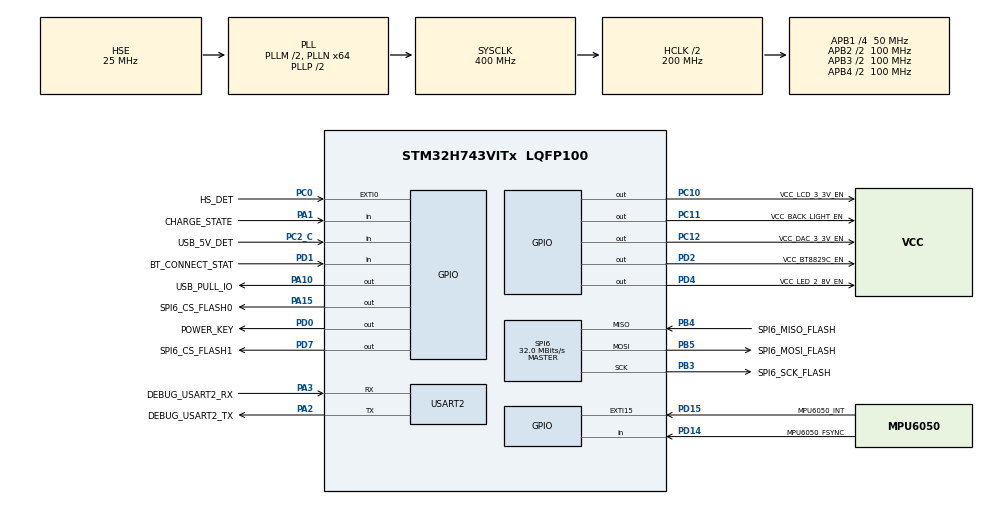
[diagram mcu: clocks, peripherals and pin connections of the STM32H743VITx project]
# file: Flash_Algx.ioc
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Bdma.Request0=SPI6_RX
Bdma.Request1=SPI6_TX
Bdma.RequestsNb=2
Bdma.SPI6_RX.0.Direction=DMA_PERIPH_TO_MEMORY
Bdma.SPI6_RX.0.EventEnable=DISABLE
Bdma.SPI6_RX.0.Instance=BDMA_Channel2
Bdma.SPI6_RX.0.MemDataAlignment=DMA_MDATAALIGN_BYTE
Bdma.SPI6_RX.0.MemInc=DMA_MINC_ENABLE
Bdma.SPI6_RX.0.Mode=DMA_NORMAL
Bdma.SPI6_RX.0.PeriphDataAlignment=DMA_PDATAALIGN_BYTE
Bdma.SPI6_RX.0.PeriphInc=DMA_PINC_DISABLE
Bdma.SPI6_RX.0.Polarity=HAL_DMAMUX_REQ_GEN_RISING
Bdma.SPI6_RX.0.Priority=DMA_PRIORITY_LOW
Bdma.SPI6_RX.0.RequestNumber=1
Bdma.SPI6_RX.0.SignalID=NONE
Bdma.SPI6_RX.0.SyncEnable=DISABLE
Bdma.SPI6_RX.0.SyncPolarity=HAL_DMAMUX_SYNC_NO_EVENT
Bdma.SPI6_RX.0.SyncRequestNumber=1
Bdma.SPI6_RX.0.SyncSignalID=NONE
Bdma.SPI6_TX.1.Direction=DMA_MEMORY_TO_PERIPH
Bdma.SPI6_TX.1.EventEnable=DISABLE
Bdma.SPI6_TX.1.Instance=BDMA_Channel3
Bdma.SPI6_TX.1.MemDataAlignment=DMA_MDATAALIGN_BYTE
Bdma.SPI6_TX.1.MemInc=DMA_MINC_ENABLE
Bdma.SPI6_TX.1.Mode=DMA_NORMAL
Bdma.SPI6_TX.1.PeriphDataAlignment=DMA_PDATAALIGN_BYTE
Bdma.SPI6_TX.1.PeriphInc=DMA_PINC_DISABLE
Bdma.SPI6_TX.1.Polarity=HAL_DMAMUX_REQ_GEN_RISING
Bdma.SPI6_TX.1.Priority=DMA_PRIORITY_LOW
Bdma.SPI6_TX.1.RequestNumber=1
Bdma.SPI6_TX.1.SignalID=NONE
Bdma.SPI6_TX.1.SyncEnable=DISABLE
Bdma.SPI6_TX.1.SyncPolarity=HAL_DMAMUX_SYNC_NO_EVENT
Bdma.SPI6_TX.1.SyncRequestNumber=1
Bdma.SPI6_TX.1.SyncSignalID=NONE
CORTEX_M7.AccessPermission-Cortex_Memory_Protection_Unit_Region0_Settings=MPU_REGION_FULL_ACCESS
CORTEX_M7.AccessPermission-Cortex_Memory_Protection_Unit_Region1_Settings=MPU_REGION_FULL_ACCESS
CORTEX_M7.AccessPermission-Cortex_Memory_Protection_Unit_Region2_Settings=MPU_REGION_FULL_ACCESS
CORTEX_M7.AccessPermission-Cortex_Memory_Protection_Unit_Region3_Settings=MPU_REGION_FULL_ACCESS
CORTEX_M7.BaseAddress-Cortex_Memory_Protection_Unit_Region0_Settings=0x24000000
CORTEX_M7.BaseAddress-Cortex_Memory_Protection_Unit_Region1_Settings=0x38000000
CORTEX_M7.BaseAddress-Cortex_Memory_Protection_Unit_Region2_Settings=0x30000000
CORTEX_M7.BaseAddress-Cortex_Memory_Protection_Unit_Region3_Settings=0x30020000
CORTEX_M7.CPU_DCache=Enabled
CORTEX_M7.CPU_ICache=Enabled
CORTEX_M7.Enable-Cortex_Memory_Protection_Unit_Region0_Settings=MPU_REGION_ENABLE
CORTEX_M7.Enable-Cortex_Memory_Protection_Unit_Region1_Settings=MPU_REGION_ENABLE
CORTEX_M7.Enable-Cortex_Memory_Protection_Unit_Region2_Settings=MPU_REGION_ENABLE
CORTEX_M7.Enable-Cortex_Memory_Protection_Unit_Region3_Settings=MPU_REGION_ENABLE
CORTEX_M7.IsBufferable-Cortex_Memory_Protection_Unit_Region0_Settings=MPU_ACCESS_BUFFERABLE
CORTEX_M7.IsCacheable-Cortex_Memory_Protection_Unit_Region0_Settings=MPU_ACCESS_CACHEABLE
CORTEX_M7.IsCacheable-Cortex_Memory_Protection_Unit_Region1_Settings=MPU_ACCESS_CACHEABLE
CORTEX_M7.IsCacheable-Cortex_Memory_Protection_Unit_Region2_Settings=MPU_ACCESS_CACHEABLE
CORTEX_M7.IsCacheable-Cortex_Memory_Protection_Unit_Region3_Settings=MPU_ACCESS_CACHEABLE
CORTEX_M7.IsShareable-Cortex_Memory_Protection_Unit_Region1_Settings=MPU_ACCESS_SHAREABLE
CORTEX_M7.IsShareable-Cortex_Memory_Protection_Unit_Region2_Settings=MPU_ACCESS_SHAREABLE
CORTEX_M7.IsShareable-Cortex_Memory_Protection_Unit_Region3_Settings=MPU_ACCESS_SHAREABLE
CORTEX_M7.MPU_Control=MPU_PRIVILEGED_DEFAULT
CORTEX_M7.Size-Cortex_Memory_Protection_Unit_Region0_Settings=MPU_REGION_SIZE_512KB
CORTEX_M7.Size-Cortex_Memory_Protection_Unit_Region1_Settings=MPU_REGION_SIZE_64KB
CORTEX_M7.Size-Cortex_Memory_Protection_Unit_Region2_Settings=MPU_REGION_SIZE_128KB
CORTEX_M7.Size-Cortex_Memory_Protection_Unit_Region3_Settings=MPU_REGION_SIZE_128KB
CORTEX_M7.TypeExtField-Cortex_Memory_Protection_Unit_Region0_Settings=MPU_TEX_LEVEL1
CORTEX_M7.TypeExtField-Cortex_Memory_Protection_Unit_Region1_Settings=MPU_TEX_LEVEL1
CORTEX_M7.TypeExtField-Cortex_Memory_Protection_Unit_Region2_Settings=MPU_TEX_LEVEL1
CORTEX_M7.TypeExtField-Cortex_Memory_Protection_Unit_Region3_Settings=MPU_TEX_LEVEL1
Dma.Request0=USART2_RX
Dma.Request1=USART2_TX
Dma.USART2_RX.0.Direction=DMA_PERIPH_TO_MEMORY
Dma.USART2_RX.0.EventEnable=DISABLE
Dma.USART2_RX.0.FIFOMode=DMA_FIFOMODE_DISABLE
Dma.USART2_RX.0.Instance=DMA1_Stream3
Dma.USART2_RX.0.MemDataAlignment=DMA_MDATAALIGN_BYTE
Dma.USART2_RX.0.MemInc=DMA_MINC_ENABLE
Dma.USART2_RX.0.Mode=DMA_NORMAL
Dma.USART2_RX.0.PeriphDataAlignment=DMA_PDATAALIGN_BYTE
Dma.USART2_RX.0.PeriphInc=DMA_PINC_DISABLE
Dma.USART2_RX.0.Polarity=HAL_DMAMUX_REQ_GEN_RISING
Dma.USART2_RX.0.Priority=DMA_PRIORITY_LOW
Dma.USART2_RX.0.RequestNumber=1
Dma.USART2_RX.0.SignalID=NONE
Dma.USART2_RX.0.SyncEnable=DISABLE
Dma.USART2_RX.0.SyncPolarity=HAL_DMAMUX_SYNC_NO_EVENT
Dma.USART2_RX.0.SyncRequestNumber=1
Dma.USART2_RX.0.SyncSignalID=NONE
Dma.USART2_TX.1.Direction=DMA_MEMORY_TO_PERIPH
Dma.USART2_TX.1.EventEnable=DISABLE
Dma.USART2_TX.1.FIFOMode=DMA_FIFOMODE_DISABLE
Dma.USART2_TX.1.Instance=DMA1_Stream4
Dma.USART2_TX.1.MemDataAlignment=DMA_MDATAALIGN_BYTE
Dma.USART2_TX.1.MemInc=DMA_MINC_ENABLE
Dma.USART2_TX.1.Mode=DMA_NORMAL
Dma.USART2_TX.1.PeriphDataAlignment=DMA_PDATAALIGN_BYTE
Dma.USART2_TX.1.PeriphInc=DMA_PINC_DISABLE
Dma.USART2_TX.1.Polarity=HAL_DMAMUX_REQ_GEN_RISING
Dma.USART2_TX.1.Priority=DMA_PRIORITY_LOW
Dma.USART2_TX.1.RequestNumber=1
Dma.USART2_TX.1.SignalID=NONE
Dma.USART2_TX.1.SyncEnable=DISABLE
Dma.USART2_TX.1.SyncPolarity=HAL_DMAMUX_SYNC_NO_EVENT
Dma.USART2_TX.1.SyncRequestNumber=1
Dma.USART2_TX.1.SyncSignalID=NONE
Mcu.Family=STM32H7
Mcu.Name=STM32H743VITx
Mcu.Package=LQFP100
NVIC.BDMA_Channel2_IRQn=true\:0\:0\:false\:false\:true\:false\:true\:true
NVIC.BDMA_Channel3_IRQn=true\:0\:0\:false\:false\:true\:false\:true\:true
NVIC.DMA1_Stream3_IRQn=true\:0\:0\:false\:false\:true\:false\:true\:true
NVIC.DMA1_Stream4_IRQn=true\:0\:0\:false\:false\:true\:false\:true\:true
NVIC.EXTI0_IRQn=true\:0\:0\:false\:false\:true\:true\:true\:true
NVIC.PVD_AVD_IRQn=true\:0\:0\:false\:false\:true\:true\:true\:true
NVIC.PriorityGroup=NVIC_PRIORITYGROUP_4
NVIC.SPI6_IRQn=true\:0\:0\:false\:false\:true\:false\:true\:true
NVIC.USART2_IRQn=true\:0\:0\:false\:false\:true\:true\:true\:true
PA1.GPIO_Label=CHARGE_STATE
PA1.Signal=GPIO_Input
PA10.GPIO_Label=USB_PULL_IO
PA10.GPIO_PuPd=GPIO_NOPULL
PA10.PinState=GPIO_PIN_SET
PA10.Signal=GPIO_Output
PA13\ (JTMS/SWDIO).Mode=Serial_Wire
PA13\ (JTMS/SWDIO).Signal=DEBUG_JTMS-SWDIO
PA14\ (JTCK/SWCLK).Mode=Serial_Wire
PA14\ (JTCK/SWCLK).Signal=DEBUG_JTCK-SWCLK
PA15\ (JTDI).GPIO_Label=SPI6_CS_FLASH0
PA15\ (JTDI).GPIO_Speed=GPIO_SPEED_FREQ_MEDIUM
PA15\ (JTDI).PinState=GPIO_PIN_SET
PA15\ (JTDI).Signal=GPIO_Output
PA2.GPIO_Label=DEBUG_USART2_TX
PA2.Mode=Asynchronous
PA2.Signal=USART2_TX
PA3.GPIO_Label=DEBUG_USART2_RX
PA3.Mode=Asynchronous
PA3.Signal=USART2_RX
PB3\ (JTDO/TRACESWO).GPIO_Label=SPI6_SCK_FLASH
PB3\ (JTDO/TRACESWO).Mode=Full_Duplex_Master
PB3\ (JTDO/TRACESWO).Signal=SPI6_SCK
PB4\ (NJTRST).GPIO_Label=SPI6_MISO_FLASH
PB4\ (NJTRST).Mode=Full_Duplex_Master
PB4\ (NJTRST).Signal=SPI6_MISO
PB5.GPIO_Label=SPI6_MOSI_FLASH
PB5.Mode=Full_Duplex_Master
PB5.Signal=SPI6_MOSI
PC0.GPIO_Label=HS_DET
PC0.GPIO_ModeDefaultEXTI=GPIO_MODE_IT_FALLING
PC0.GPIO_PuPd=GPIO_PULLUP
PC0.Signal=GPXTI0
PC10.GPIO_Label=VCC_LCD_3_3V_EN
PC10.PinState=GPIO_PIN_SET
PC10.Signal=GPIO_Output
PC11.GPIO_Label=VCC_BACK_LIGHT_EN
PC11.PinState=GPIO_PIN_SET
PC11.Signal=GPIO_Output
PC12.GPIO_Label=VCC_DAC_3_3V_EN
PC12.PinState=GPIO_PIN_SET
PC12.Signal=GPIO_Output
PC14-OSC32_IN\ (OSC32_IN).Mode=LSE-External-Oscillator
PC14-OSC32_IN\ (OSC32_IN).Signal=RCC_OSC32_IN
PC15-OSC32_OUT\ (OSC32_OUT).Mode=LSE-External-Oscillator
PC15-OSC32_OUT\ (OSC32_OUT).Signal=RCC_OSC32_OUT
PC2_C.GPIO_Label=USB_5V_DET
PC2_C.Signal=GPIO_Input
PD0.GPIO_Label=POWER_KEY
PD0.Signal=GPIO_Output
PD1.GPIO_Label=BT_CONNECT_STAT
PD1.Signal=GPIO_Input
PD14.GPIO_Label=MPU6050_FSYNC
PD14.Signal=GPIO_Input
PD15.GPIO_Label=MPU6050_INT
PD15.GPIO_ModeDefaultEXTI=GPIO_MODE_IT_FALLING
PD15.GPIO_PuPd=GPIO_PULLUP
PD15.Signal=GPXTI15
PD2.GPIO_Label=VCC_BT8829C_EN
PD2.GPIO_ModeDefaultOutputPP=GPIO_MODE_OUTPUT_OD
PD2.GPIO_PuPd=GPIO_NOPULL
PD2.PinState=GPIO_PIN_SET
PD2.Signal=GPIO_Output
PD4.GPIO_Label=VCC_LED_2_8V_EN
PD4.PinState=GPIO_PIN_SET
PD4.Signal=GPIO_Output
PD7.GPIO_Label=SPI6_CS_FLASH1
PD7.GPIO_Speed=GPIO_SPEED_FREQ_MEDIUM
PD7.PinState=GPIO_PIN_SET
PD7.Signal=GPIO_Output
PH0-OSC_IN\ (PH0).Mode=HSE-External-Oscillator
PH0-OSC_IN\ (PH0).Signal=RCC_OSC_IN
PH1-OSC_OUT\ (PH1).Mode=HSE-External-Oscillator
PH1-OSC_OUT\ (PH1).Signal=RCC_OSC_OUT
ProjectManager.HeapSize=0xC000
ProjectManager.StackSize=0xA000
ProjectManager.TargetToolchain=MDK-ARM V5.32
RCC.ADCFreq_Value=2048000
RCC.APB1Freq_Value=50000000
RCC.APB2Freq_Value=100000000
RCC.APB3Freq_Value=100000000
RCC.APB4Freq_Value=100000000
RCC.CortexFreq_Value=400000000
RCC.D1PPRE=RCC_APB3_DIV2
RCC.D2PPRE1=RCC_APB1_DIV4
RCC.D2PPRE2=RCC_APB2_DIV2
RCC.D3PPRE=RCC_APB4_DIV2
RCC.DIVM1=2
RCC.DIVM2=25
RCC.DIVM3=25
RCC.DIVN1=64
RCC.DIVN2=256
RCC.DIVN3=246
RCC.DIVP2=125
RCC.DIVP3=10
RCC.DIVQ1=10
RCC.DIVQ2=4
RCC.HCLKFreq_Value=200000000
RCC.HPRE=RCC_HCLK_DIV2
RCC.HSE_VALUE=25000000
RCC.PLL1_VCI_Range-AdvancedSettings=RCC_PLL1VCIRANGE_0
RCC.PLL1_VCO_SEL-AdvancedSettings=RCC_PLL1VCOMEDIUM
RCC.PLL2FRACN=0
RCC.PLL3FRACN=0
RCC.PLLFRACN=0
RCC.PLLSourceVirtual=RCC_PLLSOURCE_HSE
RCC.SAI1CLockSelection=RCC_SAI1CLKSOURCE_PLL3
RCC.SAI23CLockSelection=RCC_SAI23CLKSOURCE_PLL3
RCC.SAI4ACLockSelection=RCC_SAI4ACLKSOURCE_PLL3
RCC.SPI6CLockSelection=RCC_SPI6CLKSOURCE_PLL2
RCC.SYSCLKFreq_VALUE=400000000
RCC.SYSCLKSource=RCC_SYSCLKSOURCE_PLLCLK
RCC.USBCLockSelection=RCC_USBCLKSOURCE_HSI48
RCC.USBFreq_Value=48000000
SPI6.CLKPhase=SPI_PHASE_2EDGE
SPI6.CLKPolarity=SPI_POLARITY_HIGH
SPI6.CalculateBaudRate=32.0 MBits/s
SPI6.DataSize=SPI_DATASIZE_8BIT
SPI6.Direction=SPI_DIRECTION_2LINES
SPI6.Mode=SPI_MODE_MASTER
SPI6.NSSPolarity=SPI_NSS_POLARITY_LOW
SPI6.VirtualType=VM_MASTER
USART2.VirtualMode-Asynchronous=VM_ASYNC
board=custom

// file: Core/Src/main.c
/* USER CODE BEGIN Header */
/**
  ******************************************************************************
  * @file           : main.c
  * @brief          : Main program body
  ******************************************************************************
  * @attention
  *
  * Copyright (c) 2022 STMicroelectronics.
  * All rights reserved.
  *
  * This software is licensed under terms that can be found in the LICENSE file
  * in the root directory of this software component.
  * If no LICENSE file comes with this software, it is provided AS-IS.
  *
  ******************************************************************************
  */
/* USER CODE END Header */
#include "main.h"
#include "spi.h"
#include "usart.h"
#include "gpio.h"

void SystemClock_Config(void);

/* USER CODE BEGIN 0 */
HAL_StatusTypeDef HAL_InitTick(uint32_t TickPriority)
{
  return HAL_OK;
}

uint32_t HAL_GetTick(void)
{
  static uint32_t ticks = 0U;
  uint32_t i;
  for(i = (SystemCoreClock >> 14U); i > 0U; i--)
  {
    __NOP(); __NOP(); __NOP(); __NOP(); __NOP(); __NOP();
    __NOP(); __NOP(); __NOP(); __NOP(); __NOP(); __NOP();
  }
  ticks += 1;
  return ticks;
}

void HAL_Delay(uint32_t Delay)
{
  uint32_t tickstart = HAL_GetTick();
  uint32_t wait = Delay;
  if(wait < HAL_MAX_DELAY)
  {
    wait += (uint32_t)(HAL_TICK_FREQ_DEFAULT);
  }
  while((HAL_GetTick() - tickstart) < wait)
  {
    __NOP();
  }
}

/* USER CODE END 0 */

int Xmain(void)
{
  /* USER CODE BEGIN 1 */
  SystemInit();
  /* USER CODE END 1 */

  /* MPU Configuration--------------------------------------------------------*/

  /* Enable I-Cache---------------------------------------------------------*/

  /* Enable D-Cache---------------------------------------------------------*/

  /* MCU Configuration--------------------------------------------------------*/

  /* Reset of all peripherals, Initializes the Flash interface and the Systick. */

  /* Configure the system clock */
  SystemClock_Config();

  /* Initialize all configured peripherals */
  MX_GPIO_Init();
  MX_USART2_UART_Init();
  MX_SPI6_Init();

  /* Infinite loop */
  /* USER CODE BEGIN WHILE */
  return 0;
  //while (1);
  /* USER CODE END WHILE */

}

void SystemClock_Config(void)
{
  RCC_OscInitTypeDef RCC_OscInitStruct = {0};
  RCC_ClkInitTypeDef RCC_ClkInitStruct = {0};

  /** Supply configuration update enable
  */
  HAL_PWREx_ConfigSupply(PWR_LDO_SUPPLY);

  /** Configure the main internal regulator output voltage
  */
  __HAL_PWR_VOLTAGESCALING_CONFIG(PWR_REGULATOR_VOLTAGE_SCALE1);

  while(!__HAL_PWR_GET_FLAG(PWR_FLAG_VOSRDY)) {}

  /** Macro to configure the PLL clock source
  */
  __HAL_RCC_PLL_PLLSOURCE_CONFIG(RCC_PLLSOURCE_HSE);

  /** Initializes the RCC Oscillators according to the specified parameters
  * in the RCC_OscInitTypeDef structure.
  */
  RCC_OscInitStruct.OscillatorType = RCC_OSCILLATORTYPE_HSE;
  RCC_OscInitStruct.HSEState = RCC_HSE_ON;
  RCC_OscInitStruct.PLL.PLLState = RCC_PLL_ON;
  RCC_OscInitStruct.PLL.PLLSource = RCC_PLLSOURCE_HSE;
  RCC_OscInitStruct.PLL.PLLM = 2;
  RCC_OscInitStruct.PLL.PLLN = 64;
  RCC_OscInitStruct.PLL.PLLP = 2;
  RCC_OscInitStruct.PLL.PLLQ = 10;
  RCC_OscInitStruct.PLL.PLLR = 2;
  RCC_OscInitStruct.PLL.PLLRGE = RCC_PLL1VCIRANGE_3;
  RCC_OscInitStruct.PLL.PLLVCOSEL = RCC_PLL1VCOWIDE;
  RCC_OscInitStruct.PLL.PLLFRACN = 0;
  if (HAL_RCC_OscConfig(&RCC_OscInitStruct) != HAL_OK)
  {
    Error_Handler();
  }

  /** Initializes the CPU, AHB and APB buses clocks
  */
  RCC_ClkInitStruct.ClockType = RCC_CLOCKTYPE_HCLK|RCC_CLOCKTYPE_SYSCLK
                              |RCC_CLOCKTYPE_PCLK1|RCC_CLOCKTYPE_PCLK2
                              |RCC_CLOCKTYPE_D3PCLK1|RCC_CLOCKTYPE_D1PCLK1;
  RCC_ClkInitStruct.SYSCLKSource = RCC_SYSCLKSOURCE_PLLCLK;
  RCC_ClkInitStruct.SYSCLKDivider = RCC_SYSCLK_DIV1;
  RCC_ClkInitStruct.AHBCLKDivider = RCC_HCLK_DIV2;
  RCC_ClkInitStruct.APB3CLKDivider = RCC_APB3_DIV2;
  RCC_ClkInitStruct.APB1CLKDivider = RCC_APB1_DIV4;
  RCC_ClkInitStruct.APB2CLKDivider = RCC_APB2_DIV2;
  RCC_ClkInitStruct.APB4CLKDivider = RCC_APB4_DIV2;

  if (HAL_RCC_ClockConfig(&RCC_ClkInitStruct, FLASH_LATENCY_2) != HAL_OK)
  {
    Error_Handler();
  }
}

/* MPU Configuration */

void Error_Handler(void)
{
  __disable_irq();
  while (1)
  {
  }
}
